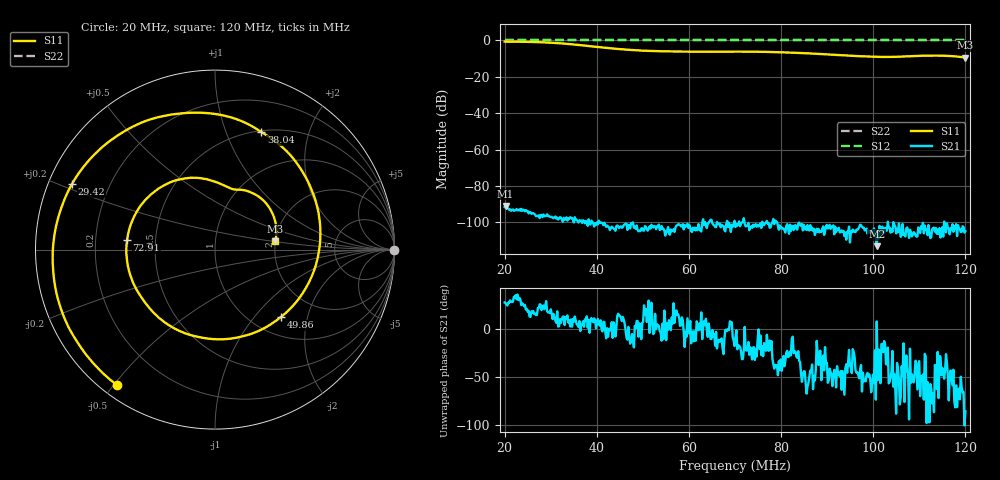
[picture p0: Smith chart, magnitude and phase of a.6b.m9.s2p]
! Anritsu VNA Master:  Model: MS2036C/10/77
! SN:  1601066
! /bd0/18may07/256.ns.m9.s2p
! Existing Calibration Information:
! TYPE:  Current Settings,  Active Cal Settings
! TIME:  05/07/2018 03:21:34 PM,  05/07/2018 03:13:55 PM
! INTERNAL TEMP:  61.5 C,  60.5 C
! # POINTS:  500,  500
! START FREQ:  20.000 MHz,  20.000 MHz
! STOP FREQ:  120.000 MHz,  120.000 MHz
! SOURCE POWER:  High,  High
! IFBW:  50 Hz,  50 Hz
! AVG FACTOR:  1 ,  1
! REF PLANE 1:  0 mm,  0 mm
! REF PLANE 2:  0 mm,  0 mm
! CAL TYPE:  Full S11,  Full S11
! CAL METHOD:  SOLT,  SOLT
! CAL LINE TYPE:  Coax,  Coax
! DUT PORT 1:  K-Conn(F),  K-Conn(F)
! DUT PORT 2:  K-Conn(F),  K-Conn(F)
! CAL STATUS:  OK: Accuracy High,  --
# GHZ S DB R 50.0
! FREQ.GHZ  S11DB  S11A  S21DB  S21A  S12DB  S12A  S22DB  S22A
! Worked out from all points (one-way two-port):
!   500 points, 20 MHz to 120 MHz, reference 50 ohm
!   highest |S21| = -91.05 dB at 20.2 MHz (marker M1); lowest = -113.2 dB at 100.8 MHz (marker M2)
!   lowest |S11| = -9.4 dB at 120 MHz (marker M3), VSWR 2.03, Z = 99.9 + j10.3 ohm
!   |S11| at or under -10 dB: nowhere
!   |S22| runs from 0.0 to 0.0 dB; largest |S21 - S12| = 1
!   S11 on the Smith chart (normalised r, x): 20 MHz: 0.05, -0.51; 29.42 MHz: 0.07, +0.22; 38.04 MHz: 0.51, +1.34; 49.86 MHz: 1.34, -1.39; 72.91 MHz: 0.34, +0.05; 120 MHz: 2.00, +0.21
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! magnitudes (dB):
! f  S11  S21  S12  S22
! 20 MHz  -0.6  -91.6  0.0  0.0
! 20.2 MHz  -0.6  -91.0  0.0  0.0
! 24.81 MHz  -0.8  -93.9  0.0  0.0
! 29.42 MHz  -1.1  -96.6  0.0  0.0
! 33.03 MHz  -1.8  -98.6  0.0  0.0
! 36.83 MHz  -2.7  -100.4  0.0  0.0
! 38.04 MHz  -3.0  -101.9  0.0  0.0
! 44.65 MHz  -4.7  -102.2  0.0  0.0
! 49.86 MHz  -5.6  -103.3  0.0  0.0
! 53.47 MHz  -5.9  -101.3  0.0  0.0
! 63.69 MHz  -6.2  -101.8  0.0  0.0
! 70.1 MHz  -6.1  -102.7  0.0  0.0
! 72.91 MHz  -6.1  -100.4  0.0  0.0
! 78.92 MHz  -6.4  -99.5  0.0  0.0
! 86.73 MHz  -7.2  -103.0  0.0  0.0
! 95.15 MHz  -8.4  -105.2  0.0  0.0
! 100.8 MHz  -9.0  -113.2  0.0  0.0
! 103.4 MHz  -9.1  -102.8  0.0  0.0
! 110 MHz  -8.4  -104.3  0.0  0.0
! 113.2 MHz  -8.3  -103.0  0.0  0.0
! 116.8 MHz  -8.6  -103.2  0.0  0.0
! 120 MHz  -9.4  -104.9  0.0  0.0
